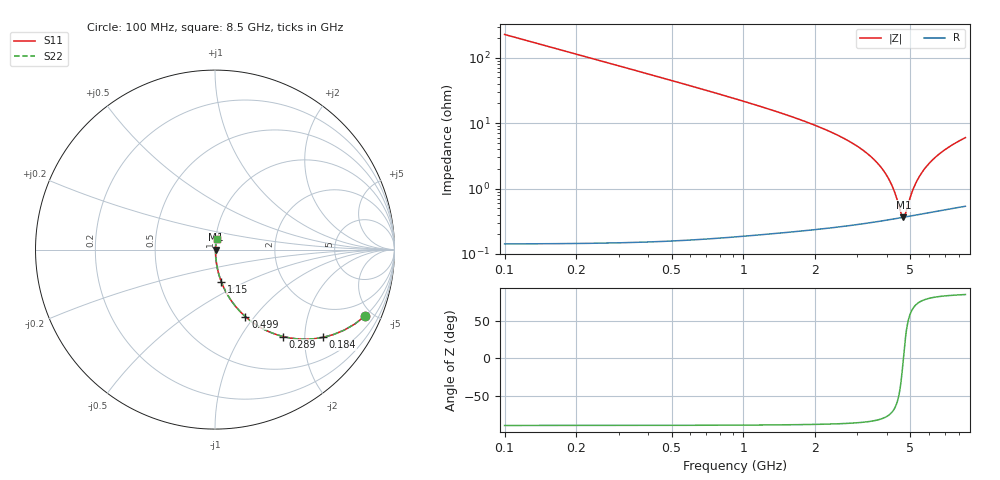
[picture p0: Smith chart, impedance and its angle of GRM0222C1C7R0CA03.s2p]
!Murata Part Number: GRM0222C1C7R0CA03
!These Parameters are Measured in Series Mode Connection
!Data Generated on Mar 30, 2021
!  o--ll--o
!Port1  Port2
!  o------o
!Operation Temp=25[degC], DC Bias Voltage=0[V]
!Freq. Start=100[MHz] Stop=9[GHz] 401[Steps]
# Hz S RI R 50
!Freq.(Hz) S11(Real) S11(Imag) S21(Real) S21(Imag) S12(Real) S12(Imag) S22(Real) S22(Imag)
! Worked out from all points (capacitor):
!   401 points, 100 MHz to 8.5 GHz, reference 50 ohm
!   read as one part in series: C = 7 pF near 142 MHz
!   lowest |Z| = 363 mohm at 4.678 GHz (marker M1)
!   series resonance near 4.676 GHz, so ESL is about 170 pH
!   S11 on the Smith chart (normalised r, x): 100 MHz: 1.00, -4.55; 184 MHz: 1.00, -2.47; 289 MHz: 1.00, -1.57; 499 MHz: 1.00, -0.90; 1.15 GHz: 1.00, -0.37; 8.5 GHz: 1.01, +0.12
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1e8  0.8376 -0.3685  0.1624 0.3685  0.1624 0.3685  0.8376 -0.3685
1.84e8  0.6033 -0.4886  0.3967 0.4886  0.3967 0.4886  0.6033 -0.4886
2.89e8  0.3806 -0.4846  0.6194 0.4846  0.6194 0.4846  0.3806 -0.4846
3.94e8  0.2475 -0.4303  0.7525 0.4303  0.7525 0.4303  0.2475 -0.4303
4.99e8  0.1693 -0.3733  0.8307 0.3733  0.8307 0.3733  0.1693 -0.3733
7.51e8  0.0811 -0.2701  0.9189 0.2701  0.9189 0.2701  0.0811 -0.2701
1.15e9  0.0349 -0.1784  0.9651 0.1784  0.9651 0.1784  0.0349 -0.1784
1.507e9  0.0198 -0.1317  0.9802 0.1317  0.9802 0.1317  0.0198 -0.1317
2.914e9  0.00498 -0.0469  0.995 0.0469  0.995 0.0469  0.00498 -0.0469
3.775e9  0.0036 -0.0206  0.9964 0.0206  0.9964 0.0206  0.0036 -0.0206
4.069e9  0.00349 -0.0133  0.9965 0.0133  0.9965 0.0133  0.00349 -0.0133
4.3e9  0.00349 -0.00798  0.9965 0.00798  0.9965 0.00798  0.00349 -0.00798
4.573e9  0.00357 -0.00211  0.9964 0.00211  0.9964 0.00211  0.00357 -0.00211
4.678e9  0.00362 4.99e-05  0.9964 -4.99e-05  0.9964 -4.99e-05  0.00362 4.99e-05
4.762e9  0.00366 0.00174  0.9963 -0.00174  0.9963 -0.00174  0.00366 0.00174
4.993e9  0.00381 0.00623  0.9962 -0.00623  0.9962 -0.00623  0.00381 0.00623
5.182e9  0.00396 0.00976  0.996 -0.00976  0.996 -0.00976  0.00396 0.00976
5.413e9  0.00417 0.0139  0.9958 -0.0139  0.9958 -0.0139  0.00417 0.0139
5.707e9  0.00448 0.019  0.9955 -0.019  0.9955 -0.019  0.00448 0.019
6.316e9  0.00524 0.0287  0.9948 -0.0287  0.9948 -0.0287  0.00524 0.0287
7.114e9  0.00641 0.0405  0.9936 -0.0405  0.9936 -0.0405  0.00641 0.0405
8.5e9  0.00882 0.0589  0.9912 -0.0589  0.9912 -0.0589  0.00882 0.0589
